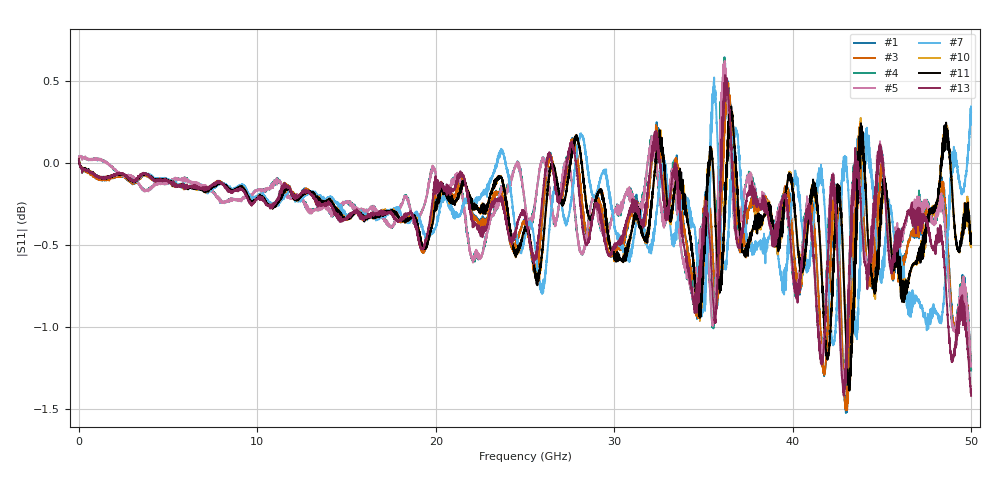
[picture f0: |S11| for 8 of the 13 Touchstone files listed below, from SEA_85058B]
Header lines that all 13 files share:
!Created with skrf (http://scikit-rf.org).
# Hz S RI R 50.0
!freq ReS11 ImS11
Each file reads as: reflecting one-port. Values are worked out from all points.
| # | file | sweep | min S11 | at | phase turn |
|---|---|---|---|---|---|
| 1 | 85058B_FM_85056A_FSHORT_FieldFox_mate1_swp0.s1p | 5.3 MHz to 50 GHz | -1.5 dB | 42.99 GHz | -3953 deg |
| 2 | 85058B_FM_85056A_FSHORT_FieldFox_mate1_swp1.s1p | 5.3 MHz to 50 GHz | -1.5 dB | 42.99 GHz | -3953 deg |
| 3 | 85058B_FM_85056A_FSHORT_FieldFox_mate1_swp2.s1p | 5.3 MHz to 50 GHz | -1.5 dB | 42.98 GHz | -3953 deg |
| 4 | 85058B_FM_85058B_FOPEN_FieldFox_mate1_swp0.s1p | 300 kHz to 50 GHz | -1.3 dB | 42.9 GHz | -3778 deg |
| 5 | 85058B_FM_85058B_FOPEN_FieldFox_mate1_swp1.s1p | 300 kHz to 50 GHz | -1.3 dB | 42.87 GHz | -3778 deg |
| 6 | 85058B_FM_85058B_FOPEN_FieldFox_mate1_swp2.s1p | 300 kHz to 50 GHz | -1.3 dB | 42.85 GHz | -3778 deg |
| 7 | 85058B_FM_85058B_FSHORT1_FieldFox_mate1_swp0.s1p | 5.3 MHz to 50 GHz | -1.1 dB | 42.28 GHz | -3791 deg |
| 8 | 85058B_FM_85058B_FSHORT1_FieldFox_mate1_swp1.s1p | 5.3 MHz to 50 GHz | -1.1 dB | 42.28 GHz | -3791 deg |
| 9 | 85058B_FM_85058B_FSHORT1_FieldFox_mate1_swp2.s1p | 5.3 MHz to 50 GHz | -1.1 dB | 42.28 GHz | -3791 deg |
| 10 | 85058B_FM_85058B_FSHORT2_FieldFox_mate1_swp0.s1p | 5.3 MHz to 50 GHz | -1.4 dB | 43.14 GHz | -3896 deg |
| 11 | 85058B_FM_85058B_FSHORT2_FieldFox_mate1_swp1.s1p | 5.3 MHz to 50 GHz | -1.4 dB | 43.19 GHz | -3896 deg |
| 12 | 85058B_FM_85058B_FSHORT2_FieldFox_mate1_swp2.s1p | 5.3 MHz to 50 GHz | -1.4 dB | 43.18 GHz | -3896 deg |
| 13 | 85058B_FM_85058B_FSHORT3_FieldFox_mate1_swp0.s1p | 5.3 MHz to 50 GHz | -1.4 dB | 50 GHz | -3985 deg |
